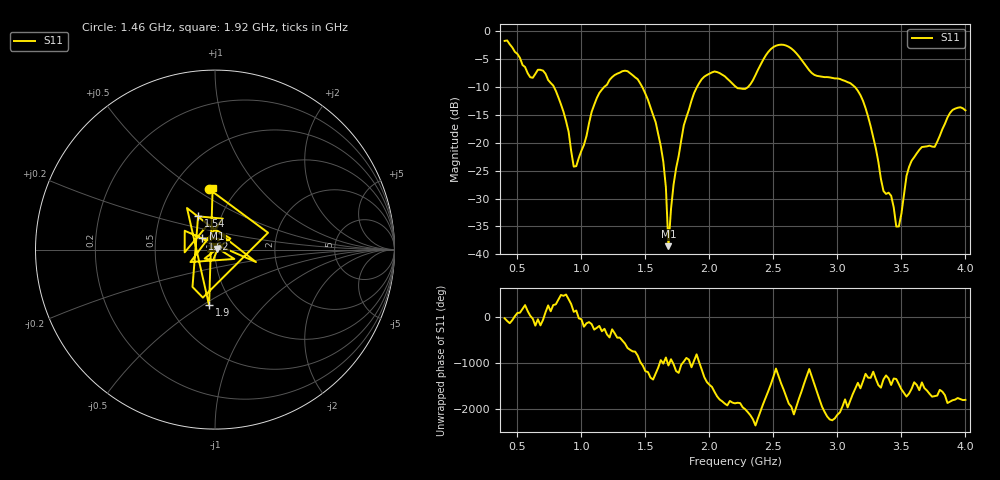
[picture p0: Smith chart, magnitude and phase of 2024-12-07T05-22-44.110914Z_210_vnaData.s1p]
!Created with skrf (http://scikit-rf.org).
# Hz S RI R 50.0
!freq ReS11 ImS11
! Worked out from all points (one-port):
!   181 points, 400 MHz to 4 GHz, reference 50 ohm
!   lowest |S11| = -38.6 dB at 1.68 GHz (marker M1), VSWR 1.02, Z = 51.1 + j0.44 ohm
!   |S11| at or under -10 dB: 786 MHz to 1.177 GHz (391 MHz wide, 39.8 % of centre); 1.476 GHz to 1.902 GHz (426.6 MHz wide, 25.3 % of centre); 3.138 GHz to end of sweep (the widest 3 of 4)
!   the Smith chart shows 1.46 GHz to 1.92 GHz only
!   S11 on the Smith chart (normalised r, x): 1.46 GHz: 0.74, +0.57; 1.54 GHz: 0.78, +0.30; 1.62 GHz: 0.86, +0.11; 1.9 GHz: 0.78, -0.53; 1.92 GHz: 0.77, +0.60
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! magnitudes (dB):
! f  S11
! 400 MHz  -1.7
! 600 MHz  -8.2
! 700 MHz  -7.0
! 860 MHz  -14.4
! 960 MHz  -24.2
! 1.12 GHz  -12.0
! 1.3 GHz  -7.4
! 1.46 GHz  -9.3
! 1.54 GHz  -13.6
! 1.62 GHz  -20.6
! 1.66 GHz  -28.0
! 1.68 GHz  -38.6
! 1.72 GHz  -27.5
! 1.76 GHz  -22.4
! 1.9 GHz  -10.1
! 1.92 GHz  -9.3
! 2.2 GHz  -9.8
! 2.3 GHz  -10.0
! 2.5 GHz  -2.8
! 2.66 GHz  -3.5
! 3.1 GHz  -9.3
! 3.22 GHz  -13.8
! 3.36 GHz  -28.6
! 3.42 GHz  -29.5
! 3.46 GHz  -35.0
! 3.56 GHz  -24.3
! 3.9 GHz  -14.1
! 4 GHz  -14.2
